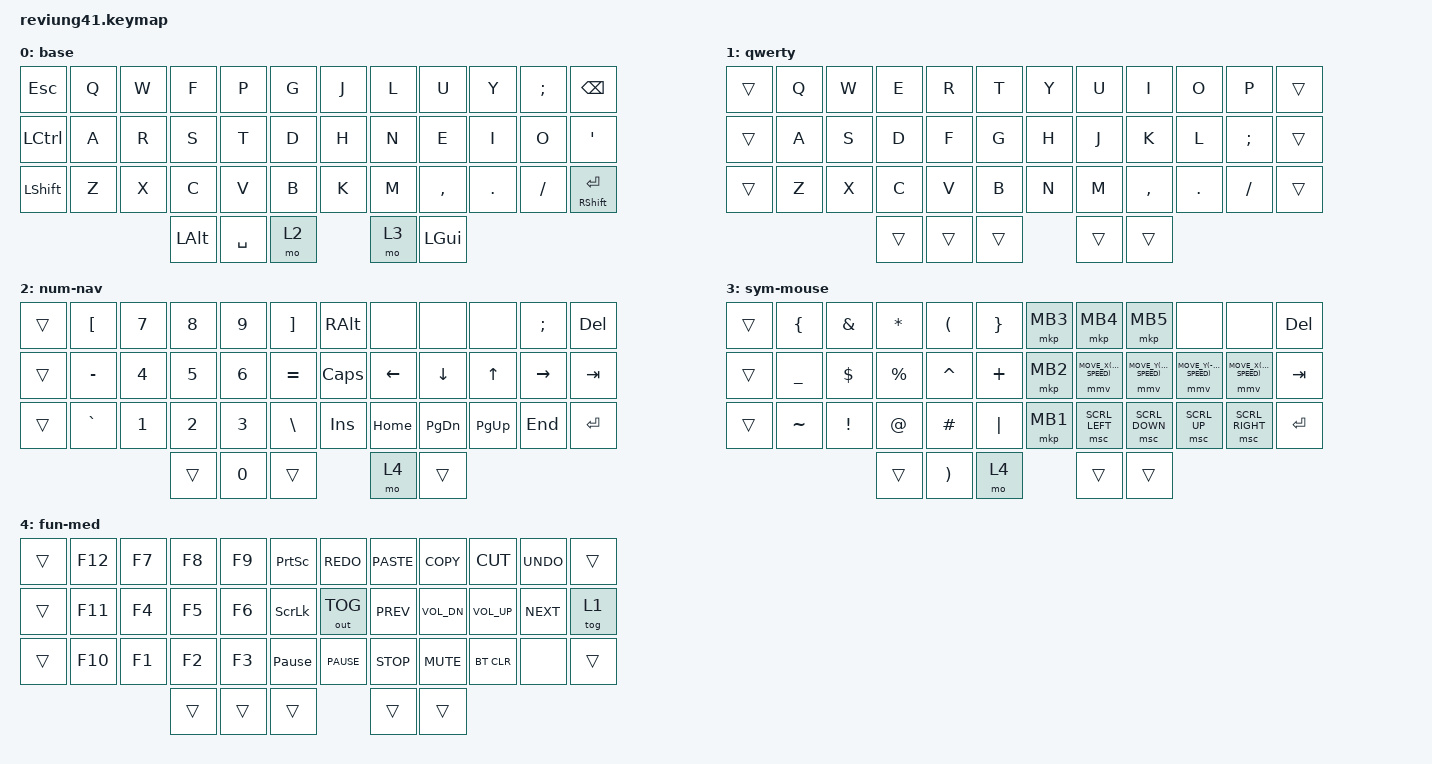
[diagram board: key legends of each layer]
/*
 * Copyright (c) 2020 The ZMK Contributors
 *
 * SPDX-License-Identifier: MIT
 */

#include <behaviors.dtsi>
#include <dt-bindings/zmk/bt.h>
#include <dt-bindings/zmk/keys.h>
#include <dt-bindings/zmk/outputs.h>
#include <dt-bindings/zmk/pointing.h>

#define MOUSE_SPEED 2000

/ {
    keymap {
        compatible = "zmk,keymap";

        base {
            // -------------------------------------------------------------------------------------
            // |  TAB |  Q  |  W  |  E  |  R  |  T  |   |  Y  |  U   |  I  |  O  |  P  |   BSPC    |
            // | CTRL |  A  |  S  |  D  |  F  |  G  |   |  H  |  J   |  K  |  L  |  ;  |    '      |
            // | SHFT |  Z  |  X  |  C  |  V  |  B  |   |  N  |  M   |  ,  |  .  |  /  | SHFT(RET) |
            //                         | ALT | LWR | SPC | RSE  | ALT |

            bindings = <
&kp ESCAPE  &kp Q  &kp W  &kp F     &kp P      &kp G         &kp J  &kp L  &kp U      &kp Y    &kp SEMICOLON  &kp BSPC
&kp LCTRL   &kp A  &kp R  &kp S     &kp T      &kp D         &kp H  &kp N  &kp E      &kp I    &kp O          &kp SQT
&kp LSHFT   &kp Z  &kp X  &kp C     &kp V      &kp B         &kp K  &kp M  &kp COMMA  &kp DOT  &kp FSLH       &mt RSHFT RET
                          &kp LALT  &kp SPACE         &mo 2         &mo 3  &kp LGUI
            >;
        };

        qwerty {
            bindings = <
&trans  &kp Q  &kp W  &kp E   &kp R   &kp T          &kp Y  &kp U   &kp I      &kp O       &kp P          &trans
&trans  &kp A  &kp S  &kp D   &kp F   &kp G          &kp H  &kp J   &kp K      &kp L       &kp SEMICOLON  &trans
&trans  &kp Z  &kp X  &kp C   &kp V   &kp B          &kp N  &kp M   &kp COMMA  &kp PERIOD  &kp SLASH      &trans
                      &trans  &trans         &trans         &trans  &trans
            >;
        };

        num-nav {
            bindings = <
&trans   &kp LBKT   &kp N7  &kp N8  &kp N9  &kp RBKT           &kp RALT  &none     &none      &none      &kp SEMICOLON      &kp DEL
&trans   &kp MINUS  &kp N4  &kp N5  &kp N6  &kp EQUAL          &kp CAPS  &kp LEFT  &kp DOWN   &kp UP     &kp RIGHT  &kp TAB
&trans   &kp GRAVE  &kp N1  &kp N2  &kp N3  &kp BSLH           &kp INS   &kp HOME  &kp PG_DN  &kp PG_UP  &kp END    &kp ENTER
                            &trans  &kp N0             &trans            &mo 4     &trans
            >;
        };

        sym-mouse {
            bindings = <
&trans   &kp LEFT_BRACE  &kp AMPERSAND  &kp STAR   &kp LPAR   &kp RBRC         &mkp MB3  &mkp MB4                   &mkp MB5                  &none                      &none                     &kp DEL
&trans   &kp UNDER       &kp DLLR       &kp PRCNT  &kp CARET  &kp PLUS         &mkp MB2  &mmv MOVE_X(-MOUSE_SPEED)  &mmv MOVE_Y(MOUSE_SPEED)  &mmv MOVE_Y(-MOUSE_SPEED)  &mmv MOVE_X(MOUSE_SPEED)  &kp TAB
&trans   &kp TILDE       &kp EXCL       &kp AT     &kp HASH   &kp PIPE         &mkp MB1  &msc SCRL_LEFT             &msc SCRL_DOWN            &msc SCRL_UP               &msc SCRL_RIGHT           &kp ENTER
                                        &trans     &kp RPAR             &mo 4            &trans                     &trans
            >;
        };

        fun-med {
            bindings = <
&trans  &kp F12  &kp F7  &kp F8  &kp F9  &kp PRINTSCREEN          &kp K_REDO    &kp K_PASTE  &kp K_COPY    &kp K_CUT     &kp K_UNDO  &trans
&trans  &kp F11  &kp F4  &kp F5  &kp F6  &kp SCROLLLOCK           &out OUT_TOG  &kp C_PREV   &kp C_VOL_DN  &kp C_VOL_UP  &kp C_NEXT  &tog 1
&trans  &kp F10  &kp F1  &kp F2  &kp F3  &kp PAUSE_BREAK          &kp C_PAUSE   &kp C_STOP   &kp C_MUTE    &bt BT_CLR    &none       &trans
                         &trans  &trans                   &trans                &trans       &trans
            >;
        };
    };
};
